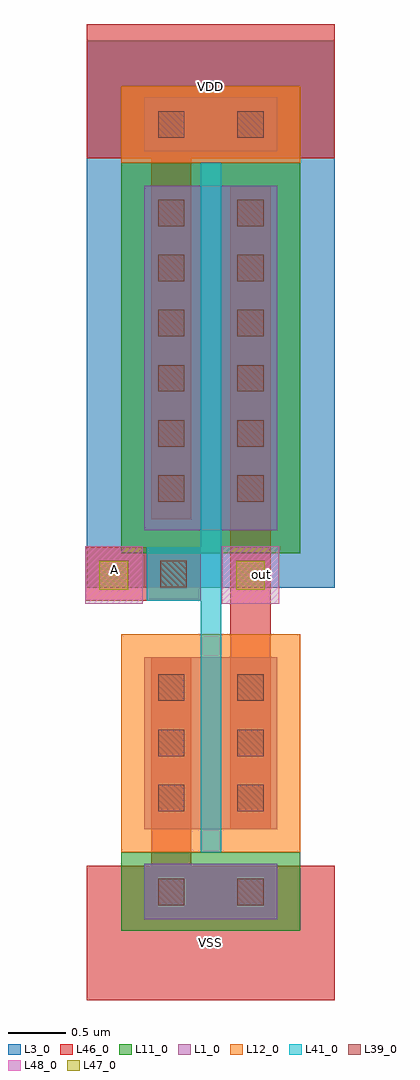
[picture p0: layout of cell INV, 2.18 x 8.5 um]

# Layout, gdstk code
import gdstk
lib = gdstk.Library(unit=1e-6, precision=1e-09)
def R(c, l, rs):  # rectangles x0, y0, x1, y1
    for r in rs: c.add(gdstk.rectangle(r[:2], r[2:], *l))
def A(c, l, x, y, w, h, nx, ny, dx, dy):  # array of equal rectangles
    R(c, l, [(x+i*dx, y+j*dy, x+i*dx+w, y+j*dy+h) for i in range(nx) for j in range(ny)])
L1_0 = (1, 0)
L3_0 = (3, 0)
L11_0 = (11, 0)
L12_0 = (12, 0)
L39_0 = (39, 0)
L41_0 = (41, 0)
L46_0 = (46, 0)
L47_0 = (47, 0)
L48_0 = (48, 0)

inv = lib.new_cell('INV')
R(inv, L1_0, [(3.77,-10.77,4.93,-10.29), (3.77,-9.99,4.93,-8.49), (3.77,-7.385,4.93,-4.385), (3.77,-4.085,4.93,-3.615)])
R(inv, L3_0, [(3.27,-7.885,5.43,-3.115)])
R(inv, L11_0, [(3.57,-10.87,5.13,-10.19), (3.57,-7.585,5.13,-4.185)])
R(inv, L12_0, [(3.57,-10.19,5.13,-8.29), (3.57,-4.185,5.13,-3.515)])
A(inv, L39_0, 3.89, -9.83, 0.23, 0.23, 1, 3, 0, 0.48)
A(inv, L39_0, 4.58, -9.83, 0.23, 0.23, 1, 3, 0, 0.48)
A(inv, L39_0, 3.89, -7.135, 0.23, 0.23, 1, 6, 0, 0.48)
A(inv, L39_0, 4.58, -7.135, 0.23, 0.23, 1, 6, 0, 0.48)
R(inv, L39_0, [(3.89,-10.65,4.12,-10.42), (4.58,-10.65,4.81,-10.42), (3.91,-7.88,4.14,-7.65), (3.89,-3.965,4.12,-3.735), (4.58,-3.965,4.81,-3.735)])
R(inv, L41_0, [(4.26,-10.19,4.44,-4.185), (3.79,-8,4.26,-7.53)])
R(inv, L46_0, [(3.27,-11.475,5.43,-10.305), (3.83,-10.72,4.18,-8.49), (4.52,-9.99,4.87,-4.385), (3.255,-8,4.26,-7.53), (3.83,-7.29,4.18,-4.145), (3.27,-4.145,5.43,-2.975)])
R(inv, L47_0, [(3.38,-7.9,3.63,-7.65), (4.57,-7.9,4.82,-7.65)])
R(inv, L48_0, [(3.255,-8.025,3.755,-7.525), (4.445,-8.025,4.945,-7.525)])
inv.add(gdstk.Label('VDD', (4.35,-3.515), layer=101, texttype=0))
inv.add(gdstk.Label('VSS', (4.35,-10.975), layer=101, texttype=0))
inv.add(gdstk.Label('A', (3.51,-7.73), layer=102, texttype=0))
inv.add(gdstk.Label('out', (4.79,-7.77), layer=102, texttype=0))

lib.write_gds('INV.gds')
